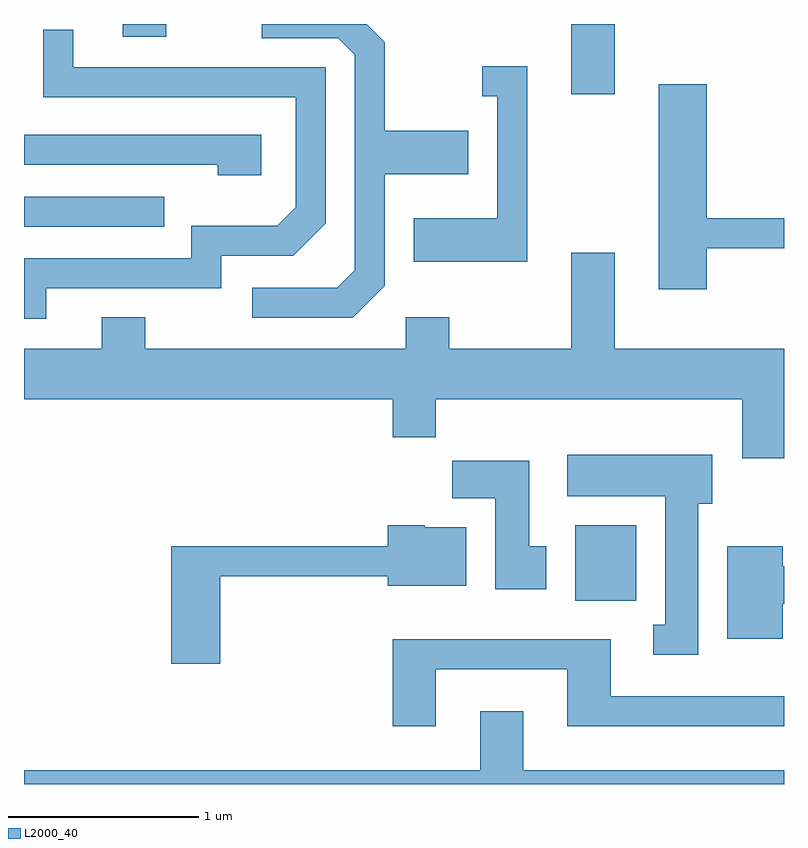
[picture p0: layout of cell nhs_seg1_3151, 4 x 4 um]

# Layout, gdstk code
import gdstk
lib = gdstk.Library(unit=1e-6, precision=1e-09)
def R(c, l, rs):  # rectangles x0, y0, x1, y1
    for r in rs: c.add(gdstk.rectangle(r[:2], r[2:], *l))
def P(c, l, *ps):  # polygons
    for p in ps: c.add(gdstk.Polygon(p, *l))
L2000_40 = (2000, 40)

nhs_seg1_3151 = lib.new_cell('nhs_seg1_3151')
R(nhs_seg1_3151, L2000_40, [(282.511,960.676,282.834,961.074), (279.611,962.646,280.348,962.804), (282.491,963.341,282.719,963.712), (280.131,963.646,280.359,963.712)])
P(nhs_seg1_3151, L2000_40, [(281.509,962.334),(281.509,962.921),(281.949,962.921),(281.949,963.149),(281.509,963.149),(281.509,963.617),(281.414,963.712),(280.863,963.712),(280.863,963.636),(281.264,963.636),(281.351,963.549),(281.351,962.417),(281.259,962.324),(280.813,962.324),(280.813,962.166),(281.342,962.166)],
  [(279.729,962.321),(280.649,962.321),(280.649,962.491),(281.027,962.491),(281.199,962.664),(281.199,963.484),(279.869,963.484),(279.869,963.683),(279.711,963.683),(279.711,963.326),(281.041,963.326),(281.041,962.747),(280.944,962.649),(280.491,962.649),(280.491,962.479),(279.611,962.479),(279.611,962.161),(279.729,962.161)],
  [(282.259,963.489),(282.023,963.489),(282.023,963.331),(282.101,963.331),(282.101,962.689),(281.661,962.689),(281.661,962.461),(282.259,962.461)],
  [(283.204,962.531),(283.611,962.531),(283.611,962.689),(283.204,962.689),(283.204,963.394),(282.951,963.394),(282.951,962.316),(283.204,962.316)],
  [(280.859,963.129),(279.611,963.129),(279.611,962.971),(280.631,962.971),(280.631,962.916),(280.859,962.916)],
  [(283.611,962.004),(282.719,962.004),(282.719,962.509),(282.491,962.509),(282.491,962.004),(281.849,962.004),(281.849,962.169),(281.621,962.169),(281.621,962.004),(280.249,962.004),(280.249,962.169),(280.021,962.169),(280.021,962.004),(279.611,962.004),(279.611,961.736),(281.551,961.736),(281.551,961.536),(281.779,961.536),(281.779,961.736),(283.391,961.736),(283.391,961.426),(283.611,961.426)],
  [(283.159,961.186),(283.234,961.186),(283.234,961.444),(282.471,961.444),(282.471,961.226),(282.986,961.226),(282.986,960.549),(282.923,960.549),(282.923,960.391),(283.159,960.391)],
  [(282.359,960.964),(282.269,960.964),(282.269,961.414),(281.866,961.414),(281.866,961.216),(282.091,961.216),(282.091,960.736),(282.359,960.736)],
  [(280.644,960.806),(281.526,960.806),(281.526,960.756),(281.939,960.756),(281.939,961.064),(281.72,961.064),(281.72,961.074),(281.526,961.074),(281.526,960.964),(280.386,960.964),(280.386,960.346),(280.644,960.346)],
  [(283.604,960.661),(283.611,960.661),(283.611,960.859),(283.604,960.859),(283.604,960.964),(283.311,960.964),(283.311,960.476),(283.604,960.476)],
  [(281.779,960.316),(282.471,960.316),(282.471,960.016),(283.611,960.016),(283.611,960.174),(282.699,960.174),(282.699,960.474),(281.551,960.474),(281.551,960.016),(281.779,960.016)],
  [(283.611,959.784),(282.239,959.784),(282.239,960.094),(282.011,960.094),(282.011,959.784),(279.611,959.784),(279.611,959.712),(283.611,959.712)])

lib.write_gds('nhs_seg1_3151.gds')
